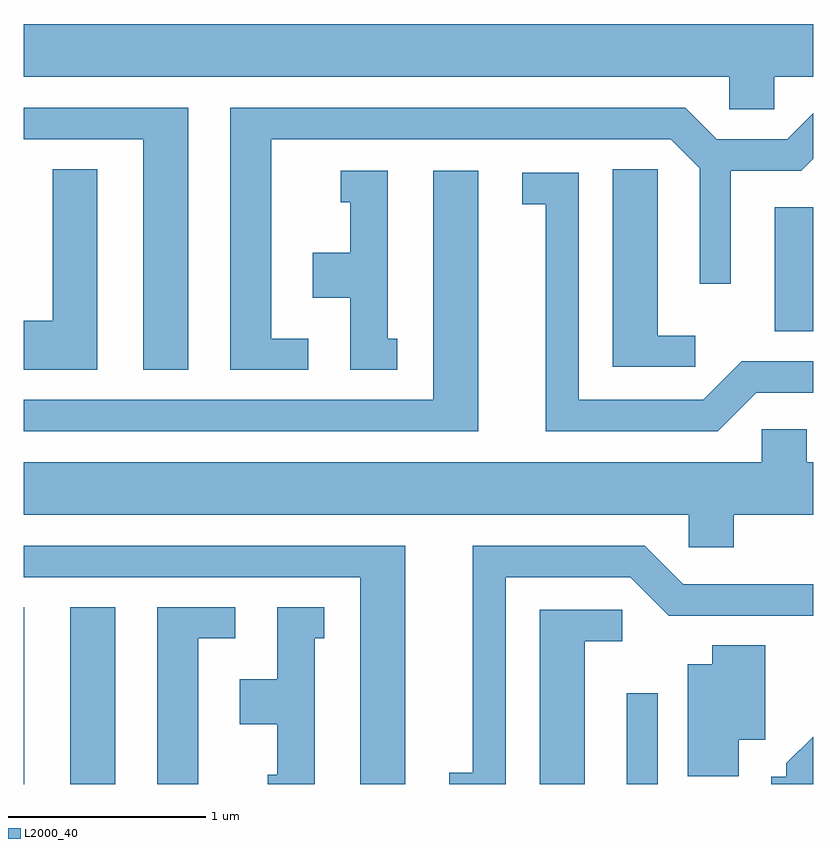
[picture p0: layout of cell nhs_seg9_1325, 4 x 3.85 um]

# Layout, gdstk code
import gdstk
lib = gdstk.Library(unit=1e-6, precision=1e-09)
def R(c, l, rs):  # rectangles x0, y0, x1, y1
    for r in rs: c.add(gdstk.rectangle(r[:2], r[2:], *l))
def P(c, l, *ps):  # polygons
    for p in ps: c.add(gdstk.Polygon(p, *l))
L2000_40 = (2000, 40)

nhs_seg9_1325 = lib.new_cell('nhs_seg9_1325')
R(nhs_seg9_1325, L2000_40, [(223.611,2010.432,223.614,2011.329), (223.846,2010.432,224.074,2011.329), (226.666,2010.432,226.824,2010.893), (227.416,2012.726,227.611,2013.354)])
P(nhs_seg9_1325, L2000_40, [(227.414,2014.016),(227.611,2014.016),(227.611,2014.284),(223.611,2014.284),(223.611,2014.016),(227.186,2014.016),(227.186,2013.851),(227.414,2013.851)],
  [(225.053,2012.689),(224.864,2012.689),(224.864,2013.701),(226.889,2013.701),(227.036,2013.554),(227.036,2012.968),(227.194,2012.968),(227.194,2013.541),(227.552,2013.541),(227.611,2013.6),(227.611,2013.831),(227.479,2013.699),(227.122,2013.699),(226.962,2013.859),(224.656,2013.859),(224.656,2012.531),(225.053,2012.531)],
  [(224.444,2013.859),(223.611,2013.859),(223.611,2013.701),(224.216,2013.701),(224.216,2012.531),(224.444,2012.531)],
  [(223.984,2013.549),(223.756,2013.549),(223.756,2012.779),(223.611,2012.779),(223.611,2012.531),(223.984,2012.531)],
  [(227.013,2012.704),(226.824,2012.704),(226.824,2013.549),(226.596,2013.549),(226.596,2012.546),(227.013,2012.546)],
  [(225.503,2012.689),(225.454,2012.689),(225.454,2013.539),(225.218,2013.539),(225.218,2013.381),(225.266,2013.381),(225.266,2013.124),(225.076,2013.124),(225.076,2012.896),(225.266,2012.896),(225.266,2012.531),(225.503,2012.531)],
  [(225.914,2013.539),(225.686,2013.539),(225.686,2012.379),(223.611,2012.379),(223.611,2012.221),(225.914,2012.221)],
  [(227.322,2012.416),(227.611,2012.416),(227.611,2012.574),(227.249,2012.574),(227.054,2012.379),(226.424,2012.379),(226.424,2013.529),(226.138,2013.529),(226.138,2013.371),(226.256,2013.371),(226.256,2012.221),(227.127,2012.221)],
  [(227.209,2011.796),(227.611,2011.796),(227.611,2012.064),(227.579,2012.064),(227.579,2012.229),(227.351,2012.229),(227.351,2012.064),(223.611,2012.064),(223.611,2011.796),(226.981,2011.796),(226.981,2011.631),(227.209,2011.631)],
  [(225.544,2011.639),(223.611,2011.639),(223.611,2011.481),(225.316,2011.481),(225.316,2010.432),(225.544,2010.432)],
  [(226.054,2011.481),(226.684,2011.481),(226.879,2011.286),(227.611,2011.286),(227.611,2011.444),(226.952,2011.444),(226.757,2011.639),(225.886,2011.639),(225.886,2010.489),(225.768,2010.489),(225.768,2010.432),(226.054,2010.432)],
  [(225.084,2011.171),(225.133,2011.171),(225.133,2011.329),(224.896,2011.329),(224.896,2010.964),(224.706,2010.964),(224.706,2010.736),(224.896,2010.736),(224.896,2010.479),(224.848,2010.479),(224.848,2010.432),(225.084,2010.432)],
  [(224.494,2011.171),(224.683,2011.171),(224.683,2011.329),(224.286,2011.329),(224.286,2010.432),(224.494,2010.432)],
  [(226.454,2011.156),(226.643,2011.156),(226.643,2011.314),(226.226,2011.314),(226.226,2010.432),(226.454,2010.432)],
  [(227.234,2010.656),(227.369,2010.656),(227.369,2011.134),(227.101,2011.134),(227.101,2011.039),(226.976,2011.039),(226.976,2010.471),(227.234,2010.471)],
  [(227.611,2010.672),(227.476,2010.537),(227.476,2010.469),(227.398,2010.469),(227.398,2010.432),(227.611,2010.432)])

lib.write_gds('nhs_seg9_1325.gds')
